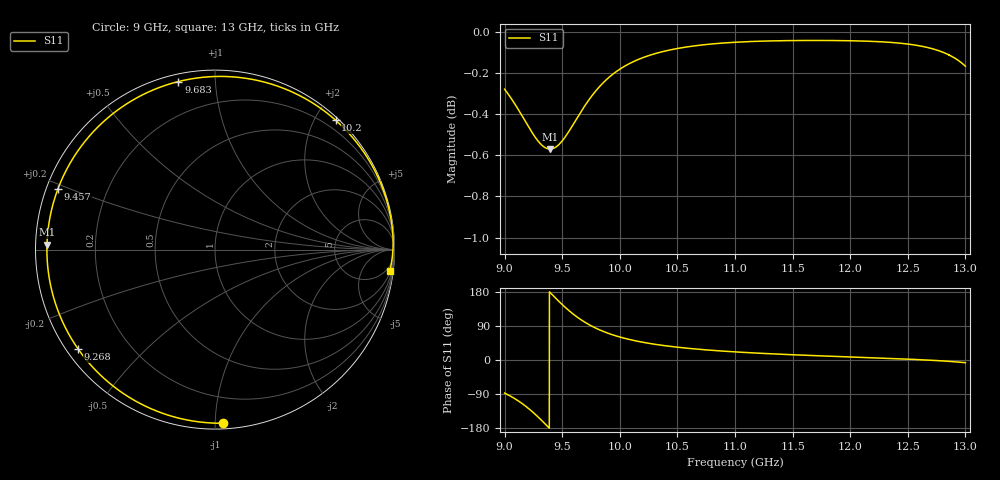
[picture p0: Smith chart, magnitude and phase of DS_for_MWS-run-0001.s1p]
! TOUCHSTONE file generated by CST DESIGN STUDIO
! Date and time: Tue Feb  4 13:15:55 2025
! Project name: C:\Work\MatlabApps\UnitCellOptimizationMatlab\CST\unitcell.cst
! Tree item: Tasks\Sweep1\SPara1\S-Parameters
! Header version: 2024
! Port assignment regex: !\s*Touchstone port\s*([0-9]+)\s*=\s*(CST MWS port|CST DES external port|CST DES block port)\s*(.+)\s* \(\"(.*)\"\)(\s*mode\s*([0-9]+))?.*
! Touchstone port assignment:
! Touchstone port 1 = CST DES external port 1 ("")
# GHz S MA R 50
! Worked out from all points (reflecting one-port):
!   4001 points, 9 GHz to 13 GHz, reference 50 ohm
!   lowest |S11| = -0.6 dB at 9.394 GHz (marker M1), VSWR 30.52, Z = 1.64 + j0.725 ohm
!   phase of S11 starts at -87 deg and turns -280 deg over the sweep
!   S11 on the Smith chart (normalised r, x): 9 GHz: 0.03, -1.05; 9.268 GHz: 0.03, -0.33; 9.457 GHz: 0.03, +0.19; 9.683 GHz: 0.04, +0.81; 10.2 GHz: 0.05, +2.30; 13 GHz: 2, -16
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9  0.9684 -87.3
9.02  0.9668 -90.4
9.079  0.9614 -100.3
9.146  0.9547 -113.6
9.208  0.9483 -128.0
9.268  0.9425 -143.9
9.334  0.938 -163.2
9.394  0.9365 178.3
9.457  0.9381 159.0
9.5  0.9408 146.3
9.544  0.9445 134.2
9.588  0.9488 123.0
9.634  0.9534 112.3
9.683  0.9582 102.3
9.752  0.9644 90.1
9.835  0.9706 78.1
9.914  0.9753 68.9
10  0.9793 60.7
10.093  0.9827 53.5
10.196  0.9856 47.0
10.336  0.9884 40.1
10.5  0.9908 33.8
11  0.9942 21.4
11.5  0.9952 13.8
12  0.9951 8.0
12.5  0.9932 2.3
12.781  0.9893 -2.0
13  0.981 -7.1
